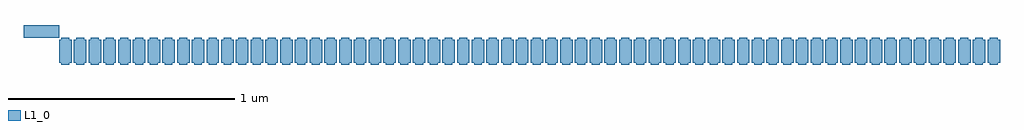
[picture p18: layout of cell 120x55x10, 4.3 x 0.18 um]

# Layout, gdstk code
import gdstk
lib = gdstk.Library(unit=1e-6, precision=1e-09)
def R(c, l, rs):  # rectangles x0, y0, x1, y1
    for r in rs: c.add(gdstk.rectangle(r[:2], r[2:], *l))
def P(c, l, *ps):  # polygons
    for p in ps: c.add(gdstk.Polygon(p, *l))
L1_0 = (1, 0)

c_120x55single = lib.new_cell('120x55single')
P(c_120x55single, L1_0, [(0,0),(0.01,0),(0.01,-0.01),(0.045,-0.01),(0.045,0),(0.055,0),(0.055,0.1),(0.045,0.1),(0.045,0.11),(0.01,0.11),(0.01,0.1),(0,0.1)])

c_120x55x10 = lib.new_cell('120x55x10')
R(c_120x55x10, L1_0, [(-0.155,0.12,0,0.175)])
r = gdstk.Reference(c_120x55single, (0,0.01)); r.repetition = gdstk.Repetition(64, 1, v1=(0.065,0), v2=(0,0)); c_120x55x10.add(r)

lib.write_gds('120x55x10.gds')
